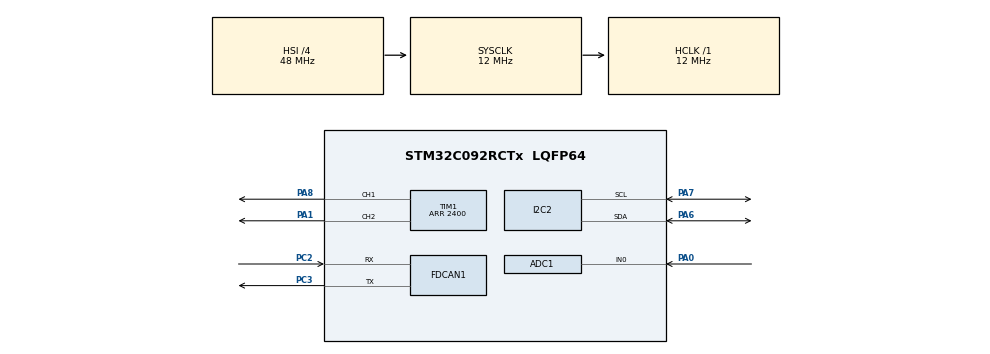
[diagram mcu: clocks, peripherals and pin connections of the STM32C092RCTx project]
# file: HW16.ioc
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ADC1.NbrOfConversionFlag=0
ADC1.SelectedChannel=ADC_CHANNEL_0
ADC1.master=1
FDCAN1.CalculateBaudRateNominal=250000
FDCAN1.CalculateTimeBitNominal=4000
FDCAN1.CalculateTimeQuantumNominal=1333.3333333333333
I2C2.Timing=0x00402D41
Mcu.Family=STM32C0
Mcu.Name=STM32C092RCTx
Mcu.Package=LQFP64
NUCLEO-C092RC.BUTTON=1
NUCLEO-C092RC.LD1=true
NUCLEO-C092RC.LD2=true
NUCLEO-C092RC.VCP=true
NVIC.EXTI4_15_IRQn=true\:0\:0\:false\:false\:true\:false\:true\:true
NVIC.TIM2_IRQn=true\:0\:0\:false\:false\:true\:true\:true\:true
PA0.Mode=IN0
PA0.Signal=ADC1_IN0
PA1.Signal=S_TIM1_CH2
PA13.GPIO_Label=SWDIO
PA13.Signal=DEBUG_SWDIO
PA14-BOOT0.GPIO_Label=SWCLK
PA14-BOOT0.Signal=DEBUG_SWCLK
PA2.Signal=USART2_TX
PA3.Signal=USART2_RX
PA6.Mode=I2C
PA6.Signal=I2C2_SDA
PA7.Mode=I2C
PA7.Signal=I2C2_SCL
PA8.Signal=S_TIM1_CH1
PC14-OSCX_IN(PC14).GPIO_Label=OSCX_IN
PC14-OSCX_IN(PC14).Signal=RCC_OSCX_IN
PC15-OSCX_OUT(PC15).GPIO_Label=OSCX_OUT
PC15-OSCX_OUT(PC15).Signal=RCC_OSCX_OUT
PC2.Mode=FDCAN_Activate
PC2.Signal=FDCAN1_RX
PC3.Mode=FDCAN_Activate
PC3.Signal=FDCAN1_TX
PF0-OSC_IN(PF0).GPIO_Label=OSC_IN
PF0-OSC_IN(PF0).Signal=RCC_OSC_IN
PF1-OSC_OUT(PF1).GPIO_Label=OSC_OUT
PF1-OSC_OUT(PF1).Signal=RCC_OSC_OUT
ProjectManager.HeapSize=0x200
ProjectManager.StackSize=0x400
ProjectManager.TargetToolchain=STM32CubeIDE
RCC.ADCFreq_Value=12000000
RCC.AHBFreq_Value=12000000
RCC.CortexFreq_Value=12000000
RCC.EXTERNAL_CLOCK_VALUE=12288000
RCC.HCLKFreq_Value=12000000
RCC.HSE_VALUE=8000000
RCC.HSI_VALUE=48000000
RCC.LSE_VALUE=32768
RCC.SYSCLKFreq_VALUE=12000000
SH.S_TIM1_CH1.0=TIM1_CH1,PWM Generation1 CH1
SH.S_TIM1_CH2.0=TIM1_CH2,PWM Generation2 CH2
TIM1.Channel-PWM\ Generation1\ CH1=TIM_CHANNEL_1
TIM1.Channel-PWM\ Generation2\ CH2=TIM_CHANNEL_2
TIM1.Period=2400
TIM2.Period=48000
VP_NUCLEO-C092RC_VS_BSP_COMMON.Mode=COMMON
VP_TIM2_VS_ClockSourceINT.Mode=Internal
board=NUCLEO-C092RC

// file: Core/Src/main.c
/* USER CODE BEGIN Header */
/**
  ******************************************************************************
  * @file           : main.c
  * @brief          : Main program body
  ******************************************************************************
  * @attention
  *
  * Copyright (c) 2026 STMicroelectronics.
  * All rights reserved.
  *
  * This software is licensed under terms that can be found in the LICENSE file
  * in the root directory of this software component.
  * If no LICENSE file comes with this software, it is provided AS-IS.
  *
  ******************************************************************************
  */
/* USER CODE END Header */
#include "main.h"

/* USER CODE BEGIN Includes */
#include <stdio.h>
#include <string.h>

/* USER CODE END Includes */

/* USER CODE BEGIN PD */
#define INA219_ADDR             0x40

#define INA219_REG_CONFIG       0x00
#define INA219_REG_CURRENT      0x04
#define INA219_REG_CALIBRATION  0x05

#define ADC_LOW_LIMIT   250
#define ADC_HIGH_LIMIT  (4095 - 250)
/* USER CODE END PD */

COM_InitTypeDef BspCOMInit;
ADC_HandleTypeDef hadc1;

FDCAN_HandleTypeDef hfdcan1;

I2C_HandleTypeDef hi2c2;

TIM_HandleTypeDef htim1;
TIM_HandleTypeDef htim2;

/* USER CODE BEGIN PV */
char txBuf[64];
volatile uint8_t sample_state = 0;

volatile int16_t desired_current_mA = 50;
volatile int16_t actual_current_mA = 0;

volatile uint32_t adc_shared = 0;
volatile int16_t current_shared = 0;

volatile float Kp = 0.8f;
volatile float Ki = 0.02f;
/* USER CODE END PV */

void SystemClock_Config(void);
static void MX_GPIO_Init(void);
static void MX_ADC1_Init(void);
static void MX_FDCAN1_Init(void);
static void MX_I2C2_Init(void);
static void MX_TIM1_Init(void);
static void MX_TIM2_Init(void);
/* USER CODE BEGIN PFP */

uint32_t ReadServoPositionADC(void);

void init_ina219(void);
float read_ina219(void);
void writeINA219(int reg, int value);
signed short readINA219(unsigned char reg);
void HAL_TIM_PeriodElapsedCallback(TIM_HandleTypeDef *htim);
void PWM_Test_Motor(void);
void Motor_Off(void);

/* USER CODE END PFP */

int main(void)
{

  /* MCU Configuration--------------------------------------------------------*/

  /* Reset of all peripherals, Initializes the Flash interface and the Systick. */
  HAL_Init();

  /* Configure the system clock */
  SystemClock_Config();

  /* Initialize all configured peripherals */
  MX_GPIO_Init();
  MX_ADC1_Init();
  MX_FDCAN1_Init();
  MX_I2C2_Init();
  MX_TIM1_Init();
  MX_TIM2_Init();
  /* USER CODE BEGIN 2 */
  init_ina219();
  HAL_TIM_Base_Start_IT(&htim2);

  sample_state = 1;

  HAL_TIM_PWM_Start(&htim1, TIM_CHANNEL_1);
  HAL_TIM_PWM_Start(&htim1, TIM_CHANNEL_2);

  __HAL_TIM_SET_COMPARE(&htim1, TIM_CHANNEL_1, 2400);
  __HAL_TIM_SET_COMPARE(&htim1, TIM_CHANNEL_2, 2400);

  /* USER CODE END 2 */

  /* Initialize leds */
  BSP_LED_Init(LED_GREEN);
  BSP_LED_Init(LED_BLUE);

  /* Initialize USER push-button, will be used to trigger an interrupt each time it's pressed.*/
  BSP_PB_Init(BUTTON_USER, BUTTON_MODE_EXTI);

  /* Initialize COM1 port (115200, 8 bits (7-bit data + 1 stop bit), no parity */
  BspCOMInit.BaudRate   = 115200;
  BspCOMInit.WordLength = COM_WORDLENGTH_8B;
  BspCOMInit.StopBits   = COM_STOPBITS_1;
  BspCOMInit.Parity     = COM_PARITY_NONE;
  BspCOMInit.HwFlowCtl  = COM_HWCONTROL_NONE;
  if (BSP_COM_Init(COM1, &BspCOMInit) != BSP_ERROR_NONE)
  {
    Error_Handler();
  }

  setvbuf(stdout, NULL, _IONBF, 0);
//  printf("HELLO WORLD\r\n"); // Test

  /* Infinite loop */
  /* USER CODE BEGIN WHILE */
  while (1)
  {
      // Wait for ISR to finish the experiment
      while (sample_state == 1)
      {
    	  printf("D=%d, I=%d, ADC=%lu\r\n",
    	         desired_current_mA,
    	         actual_current_mA,
    	         adc_shared);

          HAL_Delay(10);
      }

      printf("Done\r\n");

      HAL_Delay(2000);

      sample_state = 1;
  }
}

void SystemClock_Config(void)
{
  RCC_OscInitTypeDef RCC_OscInitStruct = {0};
  RCC_ClkInitTypeDef RCC_ClkInitStruct = {0};

  __HAL_FLASH_SET_LATENCY(FLASH_LATENCY_0);

  /** Initializes the RCC Oscillators according to the specified parameters
  * in the RCC_OscInitTypeDef structure.
  */
  RCC_OscInitStruct.OscillatorType = RCC_OSCILLATORTYPE_HSI;
  RCC_OscInitStruct.HSIState = RCC_HSI_ON;
  RCC_OscInitStruct.HSIDiv = RCC_HSI_DIV4;
  RCC_OscInitStruct.HSICalibrationValue = RCC_HSICALIBRATION_DEFAULT;
  if (HAL_RCC_OscConfig(&RCC_OscInitStruct) != HAL_OK)
  {
    Error_Handler();
  }

  /** Initializes the CPU, AHB and APB buses clocks
  */
  RCC_ClkInitStruct.ClockType = RCC_CLOCKTYPE_HCLK|RCC_CLOCKTYPE_SYSCLK
                              |RCC_CLOCKTYPE_PCLK1;
  RCC_ClkInitStruct.SYSCLKSource = RCC_SYSCLKSOURCE_HSI;
  RCC_ClkInitStruct.SYSCLKDivider = RCC_SYSCLK_DIV1;
  RCC_ClkInitStruct.AHBCLKDivider = RCC_HCLK_DIV1;
  RCC_ClkInitStruct.APB1CLKDivider = RCC_APB1_DIV1;

  if (HAL_RCC_ClockConfig(&RCC_ClkInitStruct, FLASH_LATENCY_0) != HAL_OK)
  {
    Error_Handler();
  }
}

static void MX_ADC1_Init(void)
{

  ADC_ChannelConfTypeDef sConfig = {0};

  /** Configure the global features of the ADC (Clock, Resolution, Data Alignment and number of conversion)
  */
  hadc1.Instance = ADC1;
  hadc1.Init.ClockPrescaler = ADC_CLOCK_SYNC_PCLK_DIV1;
  hadc1.Init.Resolution = ADC_RESOLUTION_12B;
  hadc1.Init.DataAlign = ADC_DATAALIGN_RIGHT;
  hadc1.Init.ScanConvMode = ADC_SCAN_SEQ_FIXED;
  hadc1.Init.EOCSelection = ADC_EOC_SINGLE_CONV;
  hadc1.Init.LowPowerAutoWait = DISABLE;
  hadc1.Init.LowPowerAutoPowerOff = DISABLE;
  hadc1.Init.ContinuousConvMode = DISABLE;
  hadc1.Init.NbrOfConversion = 1;
  hadc1.Init.DiscontinuousConvMode = DISABLE;
  hadc1.Init.ExternalTrigConv = ADC_SOFTWARE_START;
  hadc1.Init.ExternalTrigConvEdge = ADC_EXTERNALTRIGCONVEDGE_NONE;
  hadc1.Init.DMAContinuousRequests = DISABLE;
  hadc1.Init.Overrun = ADC_OVR_DATA_PRESERVED;
  hadc1.Init.SamplingTimeCommon1 = ADC_SAMPLETIME_1CYCLE_5;
  hadc1.Init.OversamplingMode = DISABLE;
  hadc1.Init.TriggerFrequencyMode = ADC_TRIGGER_FREQ_HIGH;
  if (HAL_ADC_Init(&hadc1) != HAL_OK)
  {
    Error_Handler();
  }

  /** Configure Regular Channel
  */
  sConfig.Channel = ADC_CHANNEL_0;
  sConfig.Rank = ADC_RANK_CHANNEL_NUMBER;
  if (HAL_ADC_ConfigChannel(&hadc1, &sConfig) != HAL_OK)
  {
    Error_Handler();
  }

}

static void MX_FDCAN1_Init(void)
{

  hfdcan1.Instance = FDCAN1;
  hfdcan1.Init.ClockDivider = FDCAN_CLOCK_DIV1;
  hfdcan1.Init.FrameFormat = FDCAN_FRAME_CLASSIC;
  hfdcan1.Init.Mode = FDCAN_MODE_NORMAL;
  hfdcan1.Init.AutoRetransmission = DISABLE;
  hfdcan1.Init.TransmitPause = DISABLE;
  hfdcan1.Init.ProtocolException = DISABLE;
  hfdcan1.Init.NominalPrescaler = 16;
  hfdcan1.Init.NominalSyncJumpWidth = 1;
  hfdcan1.Init.NominalTimeSeg1 = 1;
  hfdcan1.Init.NominalTimeSeg2 = 1;
  hfdcan1.Init.DataPrescaler = 1;
  hfdcan1.Init.DataSyncJumpWidth = 1;
  hfdcan1.Init.DataTimeSeg1 = 1;
  hfdcan1.Init.DataTimeSeg2 = 1;
  hfdcan1.Init.StdFiltersNbr = 0;
  hfdcan1.Init.ExtFiltersNbr = 0;
  hfdcan1.Init.TxFifoQueueMode = FDCAN_TX_FIFO_OPERATION;
  if (HAL_FDCAN_Init(&hfdcan1) != HAL_OK)
  {
    Error_Handler();
  }

}

static void MX_I2C2_Init(void)
{

  hi2c2.Instance = I2C2;
  hi2c2.Init.Timing = 0x00402D41;
  hi2c2.Init.OwnAddress1 = 0;
  hi2c2.Init.AddressingMode = I2C_ADDRESSINGMODE_7BIT;
  hi2c2.Init.DualAddressMode = I2C_DUALADDRESS_DISABLE;
  hi2c2.Init.OwnAddress2 = 0;
  hi2c2.Init.OwnAddress2Masks = I2C_OA2_NOMASK;
  hi2c2.Init.GeneralCallMode = I2C_GENERALCALL_DISABLE;
  hi2c2.Init.NoStretchMode = I2C_NOSTRETCH_DISABLE;
  if (HAL_I2C_Init(&hi2c2) != HAL_OK)
  {
    Error_Handler();
  }

  /** Configure Analogue filter
  */
  if (HAL_I2CEx_ConfigAnalogFilter(&hi2c2, I2C_ANALOGFILTER_ENABLE) != HAL_OK)
  {
    Error_Handler();
  }

  /** Configure Digital filter
  */
  if (HAL_I2CEx_ConfigDigitalFilter(&hi2c2, 0) != HAL_OK)
  {
    Error_Handler();
  }

}

static void MX_TIM1_Init(void)
{

  TIM_MasterConfigTypeDef sMasterConfig = {0};
  TIM_OC_InitTypeDef sConfigOC = {0};
  TIM_BreakDeadTimeConfigTypeDef sBreakDeadTimeConfig = {0};

  htim1.Instance = TIM1;
  htim1.Init.Prescaler = 0;
  htim1.Init.CounterMode = TIM_COUNTERMODE_UP;
  htim1.Init.Period = 2400;
  htim1.Init.ClockDivision = TIM_CLOCKDIVISION_DIV1;
  htim1.Init.RepetitionCounter = 0;
  htim1.Init.AutoReloadPreload = TIM_AUTORELOAD_PRELOAD_DISABLE;
  if (HAL_TIM_PWM_Init(&htim1) != HAL_OK)
  {
    Error_Handler();
  }
  sMasterConfig.MasterOutputTrigger = TIM_TRGO_RESET;
  sMasterConfig.MasterOutputTrigger2 = TIM_TRGO2_RESET;
  sMasterConfig.MasterSlaveMode = TIM_MASTERSLAVEMODE_DISABLE;
  if (HAL_TIMEx_MasterConfigSynchronization(&htim1, &sMasterConfig) != HAL_OK)
  {
    Error_Handler();
  }
  sConfigOC.OCMode = TIM_OCMODE_PWM1;
  sConfigOC.Pulse = 0;
  sConfigOC.OCPolarity = TIM_OCPOLARITY_HIGH;
  sConfigOC.OCNPolarity = TIM_OCNPOLARITY_HIGH;
  sConfigOC.OCFastMode = TIM_OCFAST_DISABLE;
  sConfigOC.OCIdleState = TIM_OCIDLESTATE_RESET;
  sConfigOC.OCNIdleState = TIM_OCNIDLESTATE_RESET;
  if (HAL_TIM_PWM_ConfigChannel(&htim1, &sConfigOC, TIM_CHANNEL_1) != HAL_OK)
  {
    Error_Handler();
  }
  if (HAL_TIM_PWM_ConfigChannel(&htim1, &sConfigOC, TIM_CHANNEL_2) != HAL_OK)
  {
    Error_Handler();
  }
  sBreakDeadTimeConfig.OffStateRunMode = TIM_OSSR_DISABLE;
  sBreakDeadTimeConfig.OffStateIDLEMode = TIM_OSSI_DISABLE;
  sBreakDeadTimeConfig.LockLevel = TIM_LOCKLEVEL_OFF;
  sBreakDeadTimeConfig.DeadTime = 0;
  sBreakDeadTimeConfig.BreakState = TIM_BREAK_DISABLE;
  sBreakDeadTimeConfig.BreakPolarity = TIM_BREAKPOLARITY_HIGH;
  sBreakDeadTimeConfig.BreakFilter = 0;
  sBreakDeadTimeConfig.BreakAFMode = TIM_BREAK_AFMODE_INPUT;
  sBreakDeadTimeConfig.Break2State = TIM_BREAK2_DISABLE;
  sBreakDeadTimeConfig.Break2Polarity = TIM_BREAK2POLARITY_HIGH;
  sBreakDeadTimeConfig.Break2Filter = 0;
  sBreakDeadTimeConfig.Break2AFMode = TIM_BREAK_AFMODE_INPUT;
  sBreakDeadTimeConfig.AutomaticOutput = TIM_AUTOMATICOUTPUT_DISABLE;
  if (HAL_TIMEx_ConfigBreakDeadTime(&htim1, &sBreakDeadTimeConfig) != HAL_OK)
  {
    Error_Handler();
  }
  HAL_TIM_MspPostInit(&htim1);

}

static void MX_TIM2_Init(void)
{

  TIM_ClockConfigTypeDef sClockSourceConfig = {0};
  TIM_MasterConfigTypeDef sMasterConfig = {0};

  htim2.Instance = TIM2;
  htim2.Init.Prescaler = 0;
  htim2.Init.CounterMode = TIM_COUNTERMODE_UP;
  htim2.Init.Period = 48000;
  htim2.Init.ClockDivision = TIM_CLOCKDIVISION_DIV1;
  htim2.Init.AutoReloadPreload = TIM_AUTORELOAD_PRELOAD_DISABLE;
  if (HAL_TIM_Base_Init(&htim2) != HAL_OK)
  {
    Error_Handler();
  }
  sClockSourceConfig.ClockSource = TIM_CLOCKSOURCE_INTERNAL;
  if (HAL_TIM_ConfigClockSource(&htim2, &sClockSourceConfig) != HAL_OK)
  {
    Error_Handler();
  }
  sMasterConfig.MasterOutputTrigger = TIM_TRGO_RESET;
  sMasterConfig.MasterSlaveMode = TIM_MASTERSLAVEMODE_DISABLE;
  if (HAL_TIMEx_MasterConfigSynchronization(&htim2, &sMasterConfig) != HAL_OK)
  {
    Error_Handler();
  }

}

static void MX_GPIO_Init(void)
{

  /* GPIO Ports Clock Enable */
  __HAL_RCC_GPIOC_CLK_ENABLE();
  __HAL_RCC_GPIOF_CLK_ENABLE();
  __HAL_RCC_GPIOA_CLK_ENABLE();

}

/* USER CODE BEGIN 4 */
uint32_t ReadServoPositionADC(void)
{
    uint32_t raw;

    HAL_ADC_Start(&hadc1);

    if (HAL_ADC_PollForConversion(&hadc1, 10) == HAL_OK)
    {
        raw = HAL_ADC_GetValue(&hadc1);
    }
    else
    {
        raw = 0;
    }

    HAL_ADC_Stop(&hadc1);

    return raw;
}

void init_ina219(){
    // set the INA219 sensitivity - 10 bit, plus/minus160mV, 148us per sample
    unsigned short ina219_calValue = 1024;
    unsigned short ina219_config = 0b0011000010001111;
    writeINA219(INA219_REG_CALIBRATION, ina219_calValue);
    writeINA219(INA219_REG_CONFIG, ina219_config);
}

float read_ina219(){
    float ma = 0;
    signed short value = readINA219(INA219_REG_CURRENT);
    ma = value / 3.0;
    return ma;
}

// write 2 bytes
void writeINA219(int reg, int value){
    uint8_t buf[3];
    buf[0] = reg;
    buf[1] = value>>8;
    buf[2] = value&0xff;

    HAL_I2C_Master_Transmit(&hi2c2, INA219_ADDR<<1, buf, 3, 10);
}

// timer based interrupt
void HAL_TIM_PeriodElapsedCallback(TIM_HandleTypeDef *htim)
{
    if (htim == &htim2)
    {
        static uint16_t counter = 0;
        static float integral = 0;

        if (sample_state == 1)
        {
            // read sensors only
            adc_shared = ReadServoPositionADC();
            current_shared = (int16_t)read_ina219();

            float error = (float)(desired_current_mA - actual_current_mA);

            integral += error;

            float control = (Kp * error) + (Ki * integral);

            uint16_t pwm_value;

            if (control < 0)
                pwm_value = 2400;
            else if (control > 2400)
                pwm_value = 0;
            else
                pwm_value = 2400 - (uint16_t)control;

            if (pwm_value > 2400) pwm_value = 2400;

            __HAL_TIM_SET_COMPARE(&htim1, TIM_CHANNEL_1, 2400);
            __HAL_TIM_SET_COMPARE(&htim1, TIM_CHANNEL_2, pwm_value);

            counter++;

            if (counter == 100)
                desired_current_mA = -desired_current_mA;

            if (counter >= 400)
            {
                sample_state = 0;
                counter = 0;
                integral = 0;

                __HAL_TIM_SET_COMPARE(&htim1, TIM_CHANNEL_1, 2400);
                __HAL_TIM_SET_COMPARE(&htim1, TIM_CHANNEL_2, 2400);
            }
        }
    }
}

// read 2 bytes
signed short readINA219(unsigned char reg){
    HAL_I2C_Master_Transmit(&hi2c2, INA219_ADDR<<1, &reg, 1, 10);
    uint8_t buffer[2];
    HAL_I2C_Master_Receive(&hi2c2, INA219_ADDR<<1, buffer, 2, 10);

    signed short value = (buffer[0]<<8)|buffer[1];
    return value;
}

void PWM_Test_Motor(void)
{
    // move one direction at 50% speed
    __HAL_TIM_SET_COMPARE(&htim1, TIM_CHANNEL_1, 2400);
    __HAL_TIM_SET_COMPARE(&htim1, TIM_CHANNEL_2, 1200);
    HAL_Delay(800);

    // stop
    __HAL_TIM_SET_COMPARE(&htim1, TIM_CHANNEL_1, 2400);
    __HAL_TIM_SET_COMPARE(&htim1, TIM_CHANNEL_2, 2400);
    HAL_Delay(200);

    // move opposite direction at 50% speed
    __HAL_TIM_SET_COMPARE(&htim1, TIM_CHANNEL_1, 1200);
    __HAL_TIM_SET_COMPARE(&htim1, TIM_CHANNEL_2, 2400);
    HAL_Delay(800);

    // stop again
    __HAL_TIM_SET_COMPARE(&htim1, TIM_CHANNEL_1, 2400);
    __HAL_TIM_SET_COMPARE(&htim1, TIM_CHANNEL_2, 2400);
    HAL_Delay(200);
}

void Motor_Off(void)
{
    __HAL_TIM_SET_COMPARE(&htim1, TIM_CHANNEL_1, 2400);
    __HAL_TIM_SET_COMPARE(&htim1, TIM_CHANNEL_2, 2400);
}
/* USER CODE END 4 */

void Error_Handler(void)
{
  __disable_irq();
  while (1)
  {
  }
}
